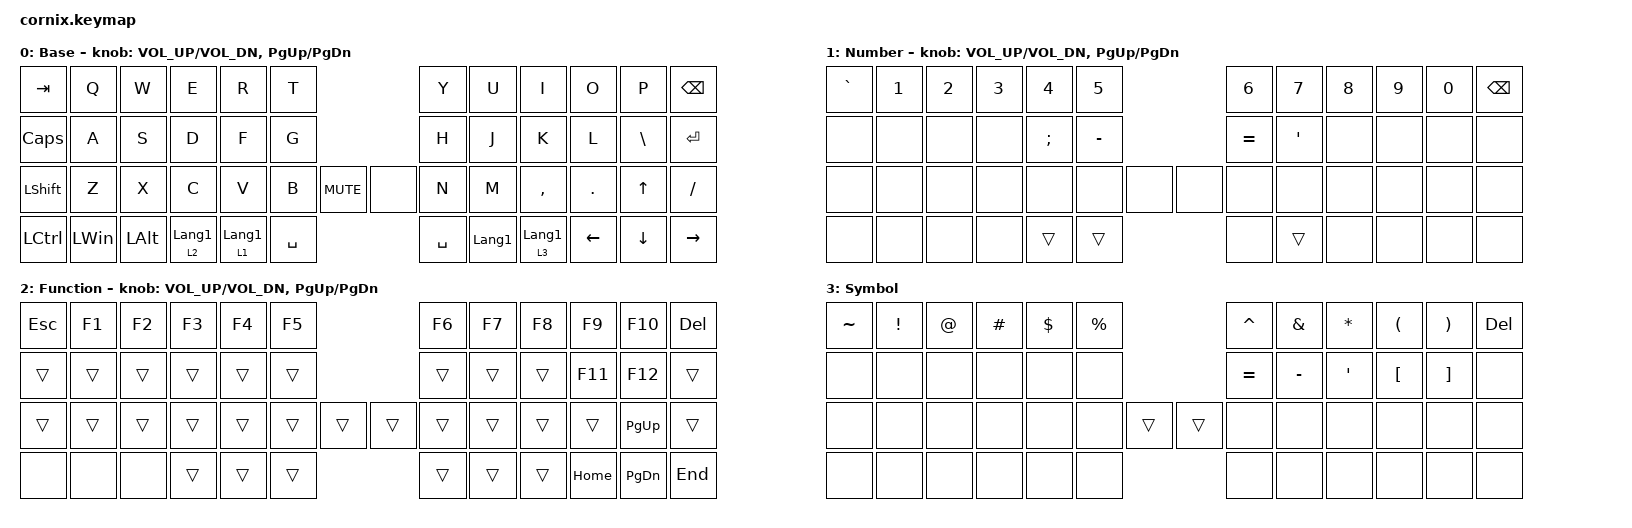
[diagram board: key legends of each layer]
/*
 * Copyright (c) 2020 The ZMK Contributors
 *
 * SPDX-License-Identifier: MIT
 */

#include "zmk-helpers/helper.h"
#include "includes/cornix54.h"

// tap windows for ctl alt and gui

#define HM_TAPPING_TERM 250
#define HM_TAPPING_REPEAT 210

// quick tapping for shift

#define HM_TAPPING_TERM_FAST 200
#define HM_PRIOR_IDLE 70
#define BASE 0
#define WIN 1
#define LOWER 2
#define RAISE 3
#define ADJUST 4
#define NAVI   5
#define NUM    6
#define DEBUG  7

// https://github.com/urob/zmk-config/tree/main#timeless-homerow-mods

#define KEYS_L LT0 LT1 LT2 LT3 LT4 LT5 LM0 LM1 LM2 LM3 LM4 LM5 LB0 LB1 LB2 LB3 LB4 LB5  // left hand
#define KEYS_R RT0 RT1 RT2 RT3 RT4 RT5 RM0 RM1 RM2 RM3 RM4 RM5 RB0 RB1 RB2 RB3 RB4 RB5  // right hand
#define THUMBS LH1 LH0 RH0 RH1
#define KEYS_T LH1 LH0 RH0 RH1
#define ZMK_POINTING_DEFAULT_SCRL_VAL 15

#include <behaviors.dtsi>
#include <dt-bindings/zmk/keys.h>

/ {
    // Activate ADJUST layer by pressing raise and lower

    behaviors {
        hm_l: homerow_mods_left {
            compatible = "zmk,behavior-hold-tap";
            #binding-cells = <2>;
            bindings = <&kp>, <&kp>;

            flavor = "balanced";
            tapping-term-ms = <HM_TAPPING_TERM>;
            quick-tap-ms = <200>;                // repeat on tap-into-hold
            require-prior-idle-ms = <HM_PRIOR_IDLE>;
            hold-trigger-key-positions = <KEYS_R KEYS_T>;
            hold-trigger-on-release;
        };

        hm_r: homerow_mods_right {
            compatible = "zmk,behavior-hold-tap";
            #binding-cells = <2>;
            bindings = <&kp>, <&kp>;

            flavor = "balanced";
            tapping-term-ms = <HM_TAPPING_TERM>;
            quick-tap-ms = <200>;
            require-prior-idle-ms = <HM_PRIOR_IDLE>;
            hold-trigger-key-positions = <KEYS_L KEYS_T>;
            hold-trigger-on-release;
        };

        // Positional Homerow mods for shift
        // Use faster tapping term and disable some features that may
        // cause false negatives.

        hm_shift_l: hm_shift_l {
            compatible = "zmk,behavior-hold-tap";
            #binding-cells = <2>;
            bindings = <&kp>, <&kp>;

            //flavor = "balanced";

            flavor = "balanced";
            tapping-term-ms = <HM_TAPPING_TERM_FAST>;
            quick-tap-ms = <200>;
            require-prior-idle-ms = <HM_PRIOR_IDLE>;
            hold-trigger-key-positions = <KEYS_R KEYS_T>;
            hold-trigger-on-release;
        };

        hm_shift_r: hm_shift_r {
            compatible = "zmk,behavior-hold-tap";
            #binding-cells = <2>;
            bindings = <&kp>, <&kp>;

            flavor = "balanced";
            tapping-term-ms = <HM_TAPPING_TERM_FAST>;
            quick-tap-ms = <200>;
            require-prior-idle-ms = <HM_PRIOR_IDLE>;
            hold-trigger-key-positions = <KEYS_L KEYS_T>;

            // for quick tapping; shift+~

            hold-trigger-on-release;
        };

        /*
         * Non-Positional Homerow Mods
         * Used for &mm_grescm_gui behavior on left hand.
         *
         * Usage: &hm LSHFT T
         * Tap: T
         * Tap-Tap-Hold: Repeat T
         * Hold: LSHIFT
         */

        hm: homerow_mods {
            compatible = "zmk,behavior-hold-tap";
            #binding-cells = <2>;
            bindings = <&kp>, <&kp>;

            flavor = "balanced";
            tapping-term-ms = <HM_TAPPING_TERM>;
            quick-tap-ms = <200>;
        };

        lt: layer_tap {
            compatible = "zmk,behavior-hold-tap";
            #binding-cells = <2>;
            bindings = <&mo>, <&kp>;

            flavor = "hold-preferred";
            tapping-term-ms = <HM_TAPPING_TERM>;
            quick-tap-ms = <200>;
        };
    };

    conditional_layers { compatible = "zmk,conditional-layers"; };

    combos {
        compatible = "zmk,combos";

        lang1 {
            bindings = <&kp LANGUAGE_1>;
            key-positions = <38 43>;
        };
    };

    keymap {
        compatible = "zmk,keymap";

        default_layer {
            display-name = "Base";

            // ------------------------------------------------------------------------------------------------------------
            // |   `   |  1  |  2  |  3   |  4   |  5   |                   |  6   |  7    |  8    |  9   |   0   |       |
            // |  ESC  |  Q  |  W  |  E   |  R   |  T   |                   |  Y   |  U    |  I    |  O   |   P   | BKSPC |
            // |  TAB  |  A  |  S  |  D   |  F   |  G   |                   |  H   |  J    |  K    |  L   |   ;   |   '   |
            // | SHIFT |  Z  |  X  |  C   |  V   |  B   |  MUTE  |  |       |  N   |  M    |  ,    |  .   |   /   | SHIFT |
            //               | GUI | ALT  | CTRL | LOWER|  ENTER |  | SPACE | RAISE| CTRL  | ALT   | GUI  |

            bindings = <
&kp TAB         &kp Q         &kp W         &kp E             &kp R             &kp T                         &kp Y      &kp U           &kp I             &kp O     &kp P     &kp BACKSPACE
&kp CAPSLOCK    &kp A         &kp S         &kp D             &kp F             &kp G                         &kp H      &kp J           &kp K             &kp L     &kp BSLH  &kp ENTER
&kp LEFT_SHIFT  &kp Z         &kp X         &kp C             &kp V             &kp B      &kp K_MUTE  &none  &kp N      &kp M           &kp COMMA         &kp DOT   &kp UP    &kp SLASH
&kp LCTRL       &kp LEFT_WIN  &kp LEFT_ALT  &lt 2 LANGUAGE_1  &lt 1 LANGUAGE_1  &kp SPACE                     &kp SPACE  &kp LANGUAGE_1  &lt 3 LANGUAGE_1  &kp LEFT  &kp DOWN  &kp RIGHT
            >;

            sensor-bindings =
                <&inc_dec_kp C_VOL_UP C_VOL_DN>,
                <&inc_dec_kp PG_UP PG_DN>;
        };

        num_layer {
            display-name = "Number";

            // TODO: Some binds are waiting for shifted keycode support.
            // -------------------------------
            // |       |  F1 |  F2 |  F3  |  F4  |  F5  |                   |  F6  |  F7   |  F8   |  F9  |  F10  |  F11  |
            // |   `   |  1  |  2  |  3   |  4   |  5   |                   |  6   |  7    |  8    |  9   |   0   |  F12  |
            // |       |  !  |  @  |  #   |  $   |  %   |                   |  ^   |  &    |  *    |  (   |   )   |   |   |
            // |       |  =  |  -  |  +   |  {   |  }   |        |  |       |  [   |  ]    |  ;    |  :   |   \   |       |
            //               |     |      |      |      |        |  |       |      |       |       |      |

            bindings = <
&kp GRAVE  &kp NUMBER_1  &kp NUMBER_2  &kp NUMBER_3  &kp NUMBER_4   &kp N5                   &kp NUMBER_6  &kp N7          &kp N8  &kp N9  &kp N0  &kp BACKSPACE
&none      &none         &none         &none         &kp SEMICOLON  &kp MINUS                &kp EQUAL     &kp APOSTROPHE  &none   &none   &none   &none
&none      &none         &none         &none         &none          &none      &none  &none  &none         &none           &none   &none   &none   &none
&none      &none         &none         &none         &trans         &trans                   &none         &trans          &none   &none   &none   &none
            >;

            sensor-bindings = <&inc_dec_kp C_VOL_UP C_VOL_DN &inc_dec_kp PG_UP PG_DN>;
        };

        fn_layer {
            display-name = "Function";

            // ------------------------------------------------------------------------------------------------------------
            // |   `   |  1  |  2  |  3   |  4   |  5   |                   |  6   |  7    |  8    |  9   |   0   |       |
            // |  ESC  |  Q  |  W  |  E   |  R   |  T   |                   |  Y   |  U    |  I    |  O   |   P   | BKSPC |
            // |  TAB  |  A  |  S  |  D   |  F   |  G   |                   |  H   |  J    |  K    |  L   |   ;   |   '   |
            // | SHIFT |  Z  |  X  |  C   |  V   |  B   |  MUTE  |  |       |  N   |  M    |  ,    |  .   |   /   | SHIFT |
            //               | GUI | ALT  | CTRL | LOWER|  ENTER |  | SPACE | RAISE| CTRL  | ALT   | GUI  |

            bindings = <
&kp ESC  &kp F1  &kp F2  &kp F3  &kp F4  &kp F5                  &kp F6  &kp F7  &kp F8  &kp F9    &kp F10        &kp DELETE
&trans   &trans  &trans  &trans  &trans  &trans                  &trans  &trans  &trans  &kp F11   &kp F12        &trans
&trans   &trans  &trans  &trans  &trans  &trans  &trans  &trans  &trans  &trans  &trans  &trans    &kp PAGE_UP    &trans
&none    &none   &none   &trans  &trans  &trans                  &trans  &trans  &trans  &kp HOME  &kp PAGE_DOWN  &kp END
            >;

            sensor-bindings = <&inc_dec_kp C_VOL_UP C_VOL_DN &inc_dec_kp PG_UP PG_DN>;
        };

        symbol_layer {
            display-name = "Symbol";

            // ----------------------------------------------------------------------------------------------------------------------------
            // | BTCLR  |  BT1    |  BT2    |   BT3   |   BT4   |   BT5   |                  |      |      |       |      |       |       |
            // | moDEBUG| RGB_HUD | RGB_HUI | RGB_SAD | RGB_SAI | RGB_EFF |                  |      |      |       |      |       |       |
            // | EXTPWR | RGB_BRD | RGB_BRI |         |         |         |                  |      |      |       |      |       |       |
            // |        |         |         |         |         |         | RGB_TOG | |      |      |      |       |      |       |       |
            //                    |         |         |         |         |         | |      |      |      |       |      |

            bindings = <
&kp TILDE  &kp EXCLAMATION  &kp AT_SIGN  &kp HASH  &kp DOLLAR  &kp PERCENT                  &kp CARET  &kp AMPERSAND  &kp ASTERISK  &kp LEFT_PARENTHESIS  &kp RIGHT_PARENTHESIS  &kp DEL
&none      &none            &none        &none     &none       &none                        &kp EQUAL  &kp MINUS      &kp SQT       &kp LEFT_BRACKET      &kp RIGHT_BRACKET      &none
&none      &none            &none        &none     &none       &none        &trans  &trans  &none      &none          &none         &none                 &none                  &none
&none      &none            &none        &none     &none       &none                        &none      &none          &none         &none                 &none                  &none
            >;
        };
    };
};
